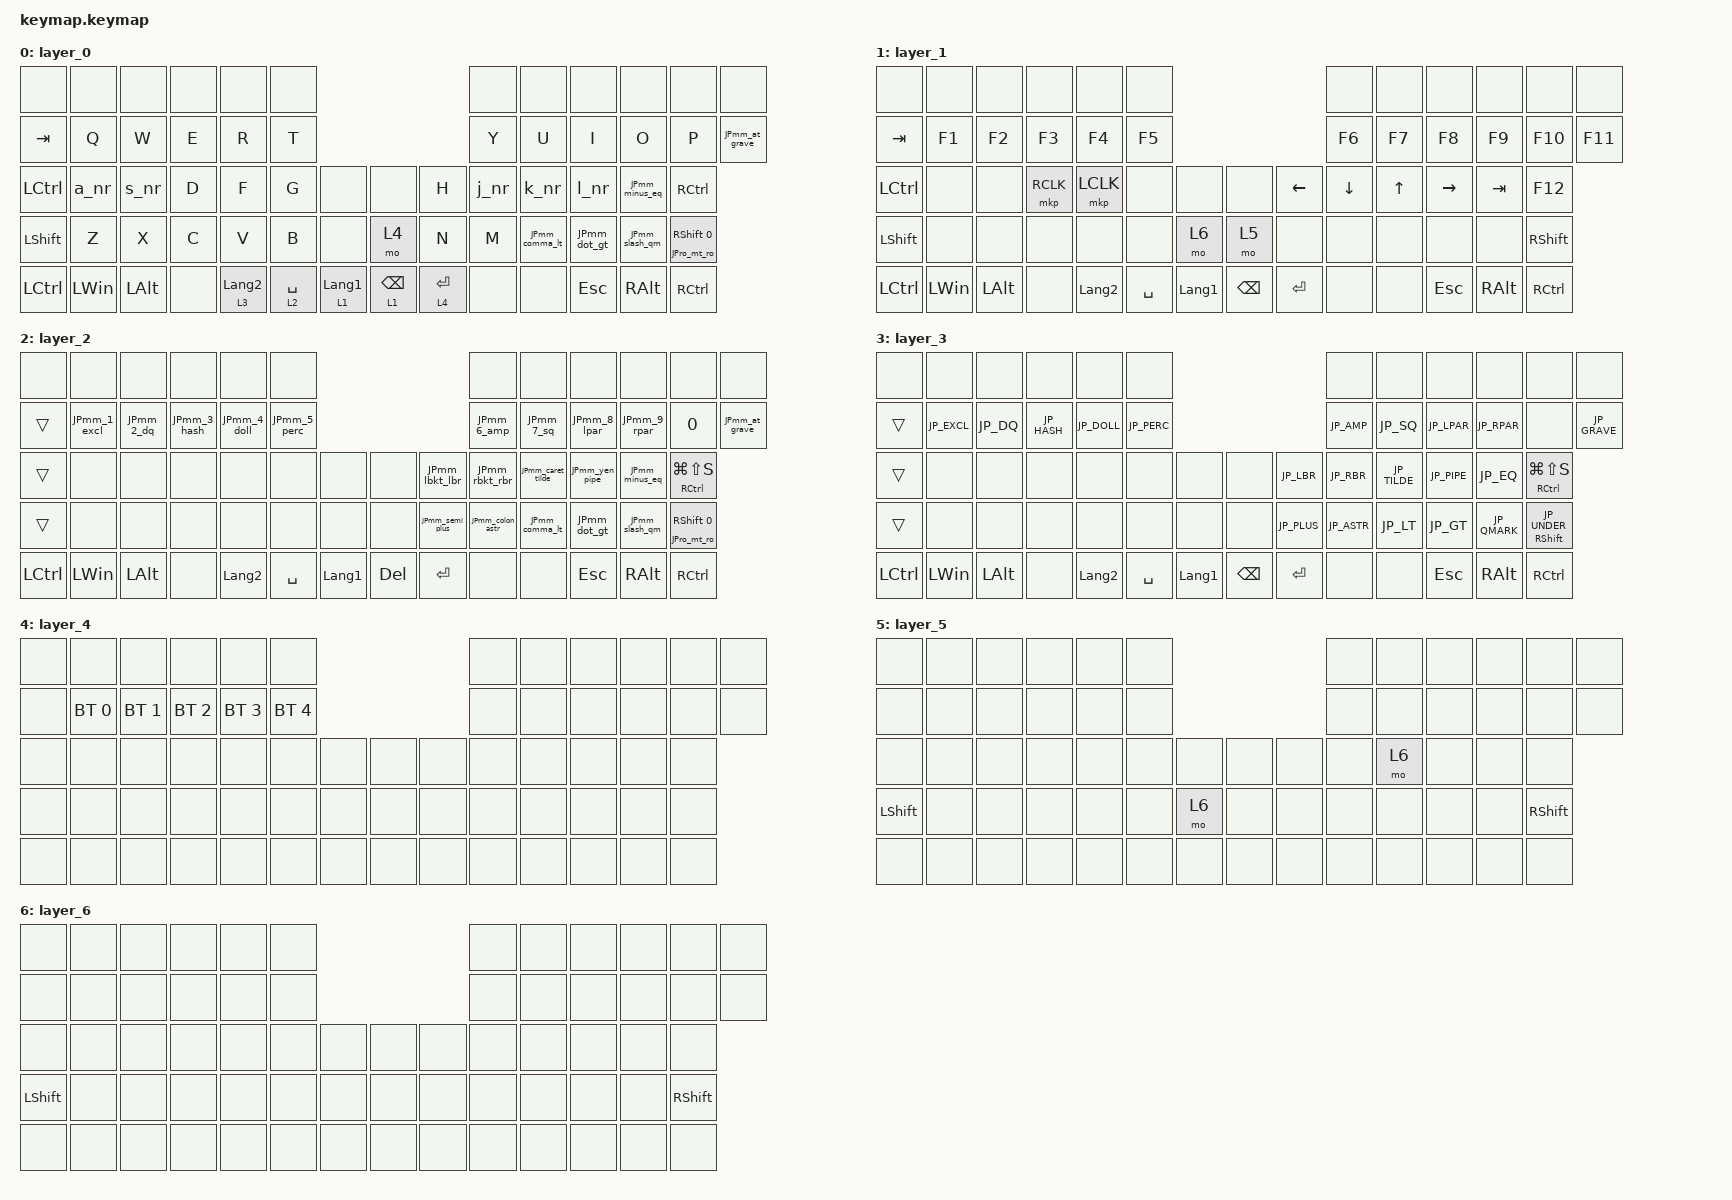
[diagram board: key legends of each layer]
#include <dt-bindings/zmk/modifiers.h>
#include <behaviors.dtsi>
#include <dt-bindings/zmk/bt.h>
#include <dt-bindings/zmk/keys.h>
#include <dt-bindings/zmk/outputs.h>
#include <dt-bindings/zmk/pointing.h>
#include "macros.dtsi"

/ {
    /* 新しい動作の定義 */
    behaviors {
        /*
         * lt_repeat: 短押しでバックスペース、長押しでレイヤー切り替え。
         * ただし、短押し直後に長押し（タップ・ホールド）すると、バックスペースを連続入力（リピート）します。
         */
        lt_repeat: layer_tap_repeat {
            compatible = "zmk,behavior-hold-tap";
            #binding-cells = <2>;
            flavor = "hold-preferred";
            tapping-term-ms = <200>;
            quick-tap-ms = <200>; // 200ミリ秒以内に再度押すと連打になる
            bindings = <&mo>, <&kp>;
        };
    };

    combos {
        compatible = "zmk,combos";
        
        // Bluetoothペアリング情報のクリア
        bt_clear {
            bindings = <&bt BT_CLR>;
            key-positions = <28 29>;
            layers = <4>;
        };

        // 左クリック
        L_click {
            bindings = <&mkp LCLK>;
            key-positions = <33 34>;
            layers = <0 1 2 3 4 5>;
        };

        // 右クリック
        R_click {
            bindings = <&mkp RCLK>;
            key-positions = <34 35>;
            layers = <0 1 2 3 4 5>;
        };

        // マウスボタン5: 進む
        combo_UI {
            bindings = <&mkp MB5>;
            key-positions = <19 20>;
            layers = <0 1 2 3 4 5>;
        };

        // マウスボタン4: 戻る
        combo_IO {
            bindings = <&mkp MB4>;
            key-positions = <20 21>;
            layers = <0 1 2 3 4 5>;
        };

        // スクロールモード (レイヤー5一時切り替え)
        scroll_mode_Yonly {
            bindings = <&mo 5>;
            key-positions = <33 35>;
            layers = <0 1 2 3 4 5>;
        };

        // スクロールモード (レイヤー6一時切り替え)
        scroll_mode {
            bindings = <&mo 6>;
            key-positions = <33 34 35>;
            layers = <0 1 2 3 4 5>;
        };
    };

    keymap {
        compatible = "zmk,keymap";

        // レイヤー 0: 基本 (Default)
        layer_0 {
            bindings = <
                &none      &none         &none         &none  &none             &none                                                           &none        &none  &none           &none         &none           &none
                &kp TAB    &kp Q         &kp W         &kp E  &kp R             &kp T                                                           &kp Y        &kp U  &kp I           &kp O         &kp P           &JPmm_at_grave
                &kp LCTRL  &a_nr         &s_nr         &kp D  &kp F             &kp G         &none             &none            &kp H        &j_nr  &k_nr           &l_nr         &JPmm_minus_eq  &kp RCTRL
                &kp LSHFT  &kp Z         &kp X         &kp C  &kp V             &kp B         &none             &mo 4            &kp N        &kp M  &JPmm_comma_lt  &JPmm_dot_gt  &JPmm_slash_qm  &JPro_mt_ro RSHFT 0
                &kp LCTRL  &kp LEFT_WIN  &kp LEFT_ALT  &none  &lt 3 LANGUAGE_2  &lt 2 SPACE  &lt 1 LANGUAGE_1  &lt_repeat 1 BSPC  &lt 4 ENTER  &none  &none           &kp ESCAPE    &kp RIGHT_ALT   &kp RCTRL
            >;
        };

        // レイヤー 1: ファンクション・カーソル
        layer_1 {
            bindings = <
                &none      &none         &none         &none      &none             &none                                                        &none        &none           &none         &none       &none          &none
                &kp TAB    &kp F1        &kp F2        &kp F3     &kp F4            &kp F5                                                       &kp F6       &kp F7          &kp F8        &kp F9      &kp F10        &kp F11
                &kp LCTRL  &none         &none         &mkp RCLK  &mkp LCLK         &none         &none             &none         &kp LEFT     &kp DOWN_ARROW  &kp UP_ARROW  &kp RIGHT   &kp TAB        &kp F12
                &kp LSHFT  &none         &none         &none      &none             &none         &mo 6             &mo 5         &none        &none           &none         &none       &none          &kp RIGHT_SHIFT
                &kp LCTRL  &kp LEFT_WIN  &kp LEFT_ALT  &none      &kp LANGUAGE_2    &kp SPACE    &kp LANGUAGE_1    &kp BSPC      &kp ENTER    &none           &none         &kp ESCAPE  &kp RIGHT_ALT  &kp RCTRL
            >;
        };

        // レイヤー 2: 数字・記号
        layer_2 {
            bindings = <
                &none      &none         &none         &none         &none             &none                                                        &none            &none              &none              &none            &none            &none
                &trans     &JPmm_1_excl  &JPmm_2_dq    &JPmm_3_hash  &JPmm_4_doll      &JPmm_5_perc                                                 &JPmm_6_amp      &JPmm_7_sq         &JPmm_8_lpar       &JPmm_9_rpar     &kp N0           &JPmm_at_grave
                &trans     &none         &none         &none         &none             &none         &none             &none         &JPmm_lbkt_lbr   &JPmm_rbkt_rbr     &JPmm_caret_tilde  &JPmm_yen_pipe   &JPmm_minus_eq  &mt RCTRL LG(LS(S))
                &trans     &none         &none         &none         &none             &none         &none             &none         &JPmm_semi_plus  &JPmm_colon_astr   &JPmm_comma_lt     &JPmm_dot_gt     &JPmm_slash_qm  &JPro_mt_ro RSHFT 0
                &kp LCTRL  &kp LEFT_WIN  &kp LEFT_ALT  &none         &kp LANGUAGE_2    &kp SPACE    &kp LANGUAGE_1    &kp DELETE    &kp ENTER        &none            &none              &kp ESCAPE       &kp RIGHT_ALT   &kp RCTRL
            >;
        };

        // レイヤー 3: 日本語記号
        layer_3 {
            bindings = <
                &none      &none         &none         &none         &none             &none                                                        &none              &none      &none          &none        &none          &none
                &trans     &kp JP_EXCL   &kp JP_DQ     &kp JP_HASH   &kp JP_DOLL       &kp JP_PERC                                                  &kp JP_AMP         &kp JP_SQ  &kp JP_LPAR    &kp JP_RPAR      &none      &kp JP_GRAVE
                &trans     &none         &none         &none         &none             &none         &none             &none         &kp JP_LBR       &kp JP_RBR   &kp JP_TILDE   &kp JP_PIPE   &kp JP_EQ         &mt RCTRL LG(LS(S))
                &trans     &none         &none         &none         &none             &none         &none             &none         &kp JP_PLUS      &kp JP_ASTR    &kp JP_LT      &kp JP_GT   &kp JP_QMARK      &mt RSHFT JP_UNDER
                &kp LCTRL  &kp LEFT_WIN  &kp LEFT_ALT  &none         &kp LANGUAGE_2    &kp SPACE    &kp LANGUAGE_1    &kp BSPC      &kp ENTER          &none      &none          &kp ESCAPE  &kp RIGHT_ALT  &kp RCTRL
            >;
        };

        // レイヤー 4: Bluetooth設定
        layer_4 {
            bindings = <
                &none  &none         &none         &none         &none         &none                                               &none  &none  &none  &none  &none  &none
                &none  &bt BT_SEL 0  &bt BT_SEL 1  &bt BT_SEL 2  &bt BT_SEL 3  &bt BT_SEL 4                                        &none  &none  &none  &none  &none  &none
                &none  &none         &none         &none         &none         &none         &none  &none  &none  &none  &none  &none  &none  &none
                &none  &none         &none         &none         &none         &none         &none  &none  &none  &none  &none  &none  &none  &none
                &none  &none         &none         &none         &none         &none         &none  &none  &none  &none  &none  &none  &none  &none
            >;
        };

        // レイヤー 5: スクロールモード縦のみ
        layer_5 {
            bindings = <
                &none           &none  &none  &none  &none  &none                 &none  &none  &none  &none  &none  &none
                &none           &none  &none  &none  &none  &none                 &none  &none  &none  &none  &none  &none
                &none           &none  &none  &none  &none  &none  &none  &none  &none  &none  &mo 6  &none  &none  &none
                &kp LEFT_SHIFT  &none  &none  &none  &none  &none  &mo 6  &none  &none  &none  &none  &none  &none  &kp RIGHT_SHIFT
                &none           &none  &none  &none  &none  &none  &none  &none  &none  &none  &none  &none  &none  &none
            >;
        };

        // レイヤー 6: スクロールモード縦横
        layer_6 {
            bindings = <
                &none           &none  &none  &none  &none  &none                 &none  &none  &none  &none  &none  &none
                &none           &none  &none  &none  &none  &none                 &none  &none  &none  &none  &none  &none
                &none           &none  &none  &none  &none  &none  &none  &none  &none  &none  &none  &none  &none  &none
                &kp LEFT_SHIFT  &none  &none  &none  &none  &none  &none  &none  &none  &none  &none  &none  &none  &kp RIGHT_SHIFT
                &none           &none  &none  &none  &none  &none  &none  &none  &none  &none  &none  &none  &none  &none
            >;
        };
    };
};
